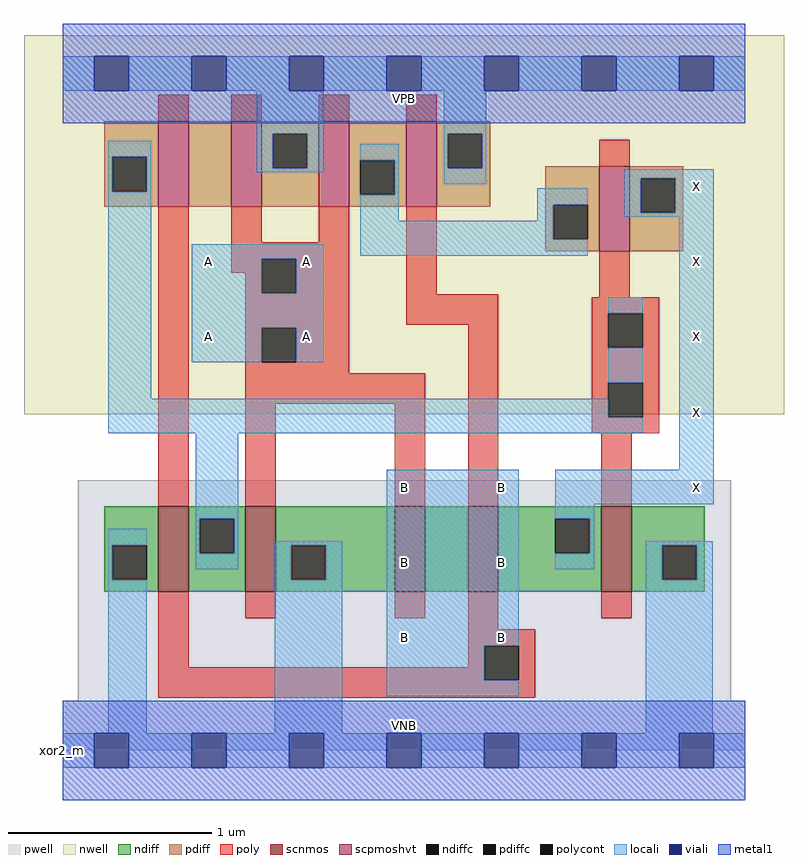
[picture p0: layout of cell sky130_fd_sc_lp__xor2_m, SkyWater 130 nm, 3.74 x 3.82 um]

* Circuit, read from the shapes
.subckt sky130_fd_sc_lp__xor2_m A B VGND VNB VPB VPWR X
XM1 n1 B VGND VNB sky130_fd_pr__nfet_01v8 w=0.42 l=0.15
XM2 VGND A n1 VNB sky130_fd_pr__nfet_01v8 w=0.42 l=0.15
XM3 n2 A VGND VNB sky130_fd_pr__nfet_01v8 w=0.42 l=0.15
XM4 X B n2 VNB sky130_fd_pr__nfet_01v8 w=0.42 l=0.15
XM5 VGND n1 X VNB sky130_fd_pr__nfet_01v8 w=0.42 l=0.15
XM6 n3 B n1 VPB sky130_fd_pr__pfet_01v8_hvt w=0.42 l=0.15
XM7 VPWR A n3 VPB sky130_fd_pr__pfet_01v8_hvt w=0.42 l=0.15
XM8 n4 A VPWR VPB sky130_fd_pr__pfet_01v8_hvt w=0.42 l=0.15
XM9 VPWR B n4 VPB sky130_fd_pr__pfet_01v8_hvt w=0.42 l=0.15
XM10 X n1 n4 VPB sky130_fd_pr__pfet_01v8_hvt w=0.42 l=0.15
.ends

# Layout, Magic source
magic
tech sky130A
magscale 1 2
<< nwell >>
rect -38 331 710 704
<< pwell >>
rect 15 49 658 266
rect 0 0 672 49
<< scnmos >>
rect 94 156 124 240
rect 180 156 210 240
rect 327 156 357 240
rect 399 156 429 240
rect 530 156 560 240
<< scpmoshvt >>
rect 94 535 124 619
rect 166 535 196 619
rect 252 535 282 619
rect 338 535 368 619
rect 528 491 558 575
<< ndiff >>
rect 41 202 94 240
rect 41 168 49 202
rect 83 168 94 202
rect 41 156 94 168
rect 124 228 180 240
rect 124 194 135 228
rect 169 194 180 228
rect 124 156 180 194
rect 210 202 327 240
rect 210 168 225 202
rect 259 168 327 202
rect 210 156 327 168
rect 357 156 399 240
rect 429 228 530 240
rect 429 194 485 228
rect 519 194 530 228
rect 429 156 530 194
rect 560 202 632 240
rect 560 168 590 202
rect 624 168 632 202
rect 560 156 632 168
<< pdiff >>
rect 41 584 94 619
rect 41 550 49 584
rect 83 550 94 584
rect 41 535 94 550
rect 124 535 166 619
rect 196 607 252 619
rect 196 573 207 607
rect 241 573 252 607
rect 196 535 252 573
rect 282 581 338 619
rect 282 547 293 581
rect 327 547 338 581
rect 282 535 338 547
rect 368 607 421 619
rect 368 573 379 607
rect 413 573 421 607
rect 368 535 421 573
rect 475 537 528 575
rect 475 503 483 537
rect 517 503 528 537
rect 475 491 528 503
rect 558 563 611 575
rect 558 529 569 563
rect 603 529 611 563
rect 558 491 611 529
<< ndiffc >>
rect 49 168 83 202
rect 135 194 169 228
rect 225 168 259 202
rect 485 194 519 228
rect 590 168 624 202
<< pdiffc >>
rect 49 550 83 584
rect 207 573 241 607
rect 293 547 327 581
rect 379 573 413 607
rect 483 503 517 537
rect 569 529 603 563
<< poly >>
rect 94 619 124 645
rect 166 619 196 645
rect 252 619 282 645
rect 338 619 368 645
rect 528 575 558 601
rect 94 240 124 535
rect 166 500 196 535
rect 252 500 282 535
rect 166 484 282 500
rect 166 470 196 484
rect 180 450 196 470
rect 230 450 282 484
rect 180 416 282 450
rect 338 449 368 535
rect 338 419 429 449
rect 528 446 558 491
rect 180 382 196 416
rect 230 382 282 416
rect 180 371 282 382
rect 180 341 357 371
rect 180 240 210 341
rect 327 240 357 341
rect 399 240 429 419
rect 521 430 587 446
rect 521 396 537 430
rect 571 396 587 430
rect 521 362 587 396
rect 521 328 537 362
rect 571 328 587 362
rect 521 312 587 328
rect 530 240 560 312
rect 94 82 124 156
rect 180 130 210 156
rect 327 130 357 156
rect 399 119 429 156
rect 530 130 560 156
rect 399 103 465 119
rect 399 82 415 103
rect 94 69 415 82
rect 449 69 465 103
rect 94 52 465 69
<< polycont >>
rect 196 450 230 484
rect 196 382 230 416
rect 537 396 571 430
rect 537 328 571 362
rect 415 69 449 103
<< locali >>
rect 0 649 31 683
rect 65 649 127 683
rect 161 649 223 683
rect 257 649 319 683
rect 353 649 415 683
rect 449 649 511 683
rect 545 649 607 683
rect 641 649 672 683
rect 191 607 257 649
rect 45 584 87 600
rect 45 550 49 584
rect 83 550 87 584
rect 191 573 207 607
rect 241 573 257 607
rect 375 607 417 649
rect 191 569 257 573
rect 293 581 331 597
rect 45 346 87 550
rect 327 547 331 581
rect 375 573 379 607
rect 413 573 417 607
rect 375 557 417 573
rect 553 563 641 572
rect 293 521 331 547
rect 467 537 517 553
rect 467 521 483 537
rect 293 503 483 521
rect 553 529 569 563
rect 603 529 641 563
rect 553 525 641 529
rect 127 484 257 498
rect 293 487 517 503
rect 127 450 196 484
rect 230 450 257 484
rect 127 416 257 450
rect 127 382 196 416
rect 230 382 257 416
rect 537 430 571 446
rect 537 362 571 396
rect 45 328 537 346
rect 45 312 571 328
rect 131 228 173 312
rect 607 276 641 525
rect 45 202 83 218
rect 45 168 49 202
rect 131 194 135 228
rect 169 194 173 228
rect 131 178 173 194
rect 209 202 275 206
rect 45 17 83 168
rect 209 168 225 202
rect 259 168 275 202
rect 209 17 275 168
rect 319 103 449 276
rect 485 242 641 276
rect 485 228 523 242
rect 519 194 523 228
rect 485 178 523 194
rect 574 202 640 206
rect 319 69 415 103
rect 319 53 449 69
rect 574 168 590 202
rect 624 168 640 202
rect 574 17 640 168
rect 0 -17 31 17
rect 65 -17 127 17
rect 161 -17 223 17
rect 257 -17 319 17
rect 353 -17 415 17
rect 449 -17 511 17
rect 545 -17 607 17
rect 641 -17 672 17
<< viali >>
rect 31 649 65 683
rect 127 649 161 683
rect 223 649 257 683
rect 319 649 353 683
rect 415 649 449 683
rect 511 649 545 683
rect 607 649 641 683
rect 31 -17 65 17
rect 127 -17 161 17
rect 223 -17 257 17
rect 319 -17 353 17
rect 415 -17 449 17
rect 511 -17 545 17
rect 607 -17 641 17
<< metal1 >>
rect 0 683 672 715
rect 0 649 31 683
rect 65 649 127 683
rect 161 649 223 683
rect 257 649 319 683
rect 353 649 415 683
rect 449 649 511 683
rect 545 649 607 683
rect 641 649 672 683
rect 0 617 672 649
rect 0 17 672 49
rect 0 -17 31 17
rect 65 -17 127 17
rect 161 -17 223 17
rect 257 -17 319 17
rect 353 -17 415 17
rect 449 -17 511 17
rect 545 -17 607 17
rect 641 -17 672 17
rect 0 -49 672 -17
<< labels >>
flabel pwell s 0 0 672 49 0 FreeSans 200 0 0 0 VNB
port 4 nsew ground bidirectional
flabel nwell s 0 617 672 666 0 FreeSans 200 0 0 0 VPB
port 5 nsew power bidirectional
rlabel comment s 0 0 0 0 4 xor2_m
flabel metal1 s 0 617 672 666 0 FreeSans 340 0 0 0 VPWR
port 6 nsew power bidirectional
flabel metal1 s 0 0 672 49 0 FreeSans 340 0 0 0 VGND
port 3 nsew ground bidirectional
flabel locali s 127 390 161 424 0 FreeSans 340 0 0 0 A
port 1 nsew signal input
flabel locali s 127 464 161 498 0 FreeSans 340 0 0 0 A
port 1 nsew signal input
flabel locali s 223 390 257 424 0 FreeSans 340 0 0 0 A
port 1 nsew signal input
flabel locali s 223 464 257 498 0 FreeSans 340 0 0 0 A
port 1 nsew signal input
flabel locali s 319 94 353 128 0 FreeSans 340 0 0 0 B
port 2 nsew signal input
flabel locali s 319 168 353 202 0 FreeSans 340 0 0 0 B
port 2 nsew signal input
flabel locali s 319 242 353 276 0 FreeSans 340 0 0 0 B
port 2 nsew signal input
flabel locali s 415 94 449 128 0 FreeSans 340 0 0 0 B
port 2 nsew signal input
flabel locali s 415 168 449 202 0 FreeSans 340 0 0 0 B
port 2 nsew signal input
flabel locali s 415 242 449 276 0 FreeSans 340 0 0 0 B
port 2 nsew signal input
flabel locali s 607 242 641 276 0 FreeSans 340 0 0 0 X
port 7 nsew signal output
flabel locali s 607 316 641 350 0 FreeSans 340 0 0 0 X
port 7 nsew signal output
flabel locali s 607 390 641 424 0 FreeSans 340 0 0 0 X
port 7 nsew signal output
flabel locali s 607 464 641 498 0 FreeSans 340 0 0 0 X
port 7 nsew signal output
flabel locali s 607 538 641 572 0 FreeSans 340 0 0 0 X
port 7 nsew signal output
<< properties >>
string LEFsite unit
string LEFclass CORE
string FIXED_BBOX 0 0 672 666
string GDS_FILE $PDKPATH/libs.ref/sky130_fd_sc_lp/gds/sky130_fd_sc_lp.gds
string LEFsymmetry X Y R90
string GDS_END 2080788
string GDS_START 2074214
<< end >>
